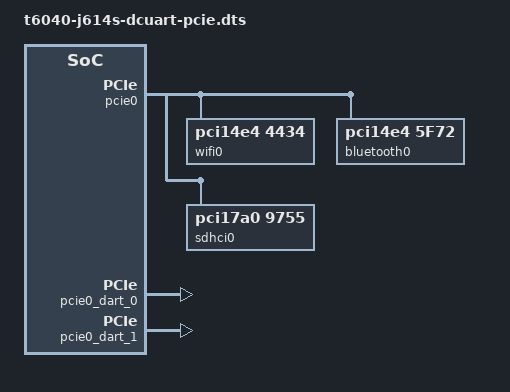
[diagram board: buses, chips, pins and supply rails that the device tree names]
// SPDX-License-Identifier: GPL-2.0+ OR MIT
/*
 * Apple MacBook Pro 14-inch M4 Pro (Mac16,8 / J614s) PCIe bring-up.
 *
 * This deliberately remains a separate boot variant: m1n1's T6040 PCIe
 * initialization performs the invasive PHY/clock/reset sequence before the
 * Linux handoff and must not be exercised without the reviewed live-attempt
 * approval.  All addresses, interrupts, pins, and populated ports below come
 * from the saved J614s ADT.
 */

#include <dt-bindings/gpio/gpio.h>
#include <dt-bindings/pinctrl/apple.h>

#include "t6040-j614s-dcuart.dts"

/ {
	aliases {
		wifi0 = &wifi0;
		bluetooth0 = &bluetooth0;
		mmc0 = &sdhci0;
	};
};

&soc {
	/*
	 * ADT /arm-io/gpio0: gpio,t8101, 200 pins, seven AIC groups.
	 * The current Linux driver uses the established t8103 fallback.
	 */
	pinctrl_ap: pinctrl@51c000000 {
		compatible = "apple,t6040-pinctrl", "apple,t8122-pinctrl",
			     "apple,t8103-pinctrl";
		reg = <0x5 0x1c000000 0x0 0x4000>;

		gpio-controller;
		#gpio-cells = <2>;
		gpio-ranges = <&pinctrl_ap 0 0 200>;
		apple,npins = <200>;

		interrupt-controller;
		#interrupt-cells = <2>;
		interrupt-parent = <&aic>;
		interrupts = <AIC_IRQ 478 IRQ_TYPE_LEVEL_HIGH>,
			     <AIC_IRQ 479 IRQ_TYPE_LEVEL_HIGH>,
			     <AIC_IRQ 480 IRQ_TYPE_LEVEL_HIGH>,
			     <AIC_IRQ 481 IRQ_TYPE_LEVEL_HIGH>,
			     <AIC_IRQ 482 IRQ_TYPE_LEVEL_HIGH>,
			     <AIC_IRQ 483 IRQ_TYPE_LEVEL_HIGH>,
			     <AIC_IRQ 484 IRQ_TYPE_LEVEL_HIGH>;

		/* ADT function-clkreq: GPIO0/1, function 2. */
		pcie_pins: pcie-pins {
			pinmux = <APPLE_PINMUX(0, 2)>,
				 <APPLE_PINMUX(1, 2)>;
		};
	};

	/*
	 * T6040 uses the T602x Linux-visible port layout: PERST at 0x82c,
	 * RID2SID at 0x3000, and MSIMAP at 0x3800.  Keep the T6020 fallback
	 * until a dedicated upstream compatible is accepted.
	 *
	 * m1n1 owns the shared PHY/clock initialization and leaves the complete
	 * ADT power-gate set active.  The initial Linux description intentionally
	 * has no incomplete single power-domain approximation: the binding only
	 * accepts one, while T6040 requires both the APCIE_SYS_GP and
	 * APCIE_PHY_SW hierarchies.
	 */
	pcie0: pcie@1cb0000000 {
		compatible = "apple,t6040-pcie", "apple,t6020-pcie";
		device_type = "pci";

		reg = <0x1c 0xb0000000 0x0 0x10000000>, /* config */
		      <0x4 0x14000000 0x0 0x4000>,     /* rc */
		      <0x4 0x10028000 0x0 0x8000>,     /* port0 */
		      <0x4 0x11028000 0x0 0x8000>,     /* port1 */
		      <0x4 0x12028000 0x0 0x8000>,     /* port2 */
		      <0x4 0x13028000 0x0 0x8000>,     /* port3 */
		      <0x4 0x17020000 0x0 0x4000>,     /* phy0 */
		      <0x4 0x17024000 0x0 0x4000>,     /* phy1 */
		      <0x4 0x17028000 0x0 0x4000>,     /* phy2 */
		      <0x4 0x1702c000 0x0 0x4000>;     /* phy3 */
		reg-names = "config", "rc",
			    "port0", "port1", "port2", "port3",
			    "phy0", "phy1", "phy2", "phy3";

		interrupt-parent = <&aic>;
		interrupts = <AIC_IRQ 1723 IRQ_TYPE_LEVEL_HIGH>,
			     <AIC_IRQ 1732 IRQ_TYPE_LEVEL_HIGH>,
			     <AIC_IRQ 1741 IRQ_TYPE_LEVEL_HIGH>,
			     <AIC_IRQ 1750 IRQ_TYPE_LEVEL_HIGH>;

		msi-controller;
		msi-parent = <&pcie0>;
		msi-ranges = <&aic AIC_IRQ 2071 IRQ_TYPE_EDGE_RISING 32>;

		/* One T8110 DART per populated root port. */
		iommu-map = <0x100 &pcie0_dart_0 1 1>,
			    <0x200 &pcie0_dart_1 1 1>;
		iommu-map-mask = <0xff00>;

		bus-range = <0 8>;
		#address-cells = <3>;
		#size-cells = <2>;
		ranges = <0x43000000 0xb 0xc0000000
			  0xb 0xc0000000 0x0 0x20000000>,
			 <0x02000000 0x0 0x80000000
			  0xb 0x80000000 0x0 0x40000000>;

		pinctrl-0 = <&pcie_pins>;
		pinctrl-names = "default";

		port00: pci@0,0 {
			device_type = "pci";
			reg = <0x0 0x0 0x0 0x0 0x0>;
			reset-gpios = <&pinctrl_ap 4 GPIO_ACTIVE_LOW>;
			max-link-speed = <2>;
			bus-range = <1 1>;

			#address-cells = <3>;
			#size-cells = <2>;
			ranges;

			interrupt-controller;
			#interrupt-cells = <1>;
			interrupt-map-mask = <0 0 0 7>;
			interrupt-map = <0 0 0 1 &port00 0 0 0 0>,
					<0 0 0 2 &port00 0 0 0 1>,
					<0 0 0 3 &port00 0 0 0 2>,
					<0 0 0 4 &port00 0 0 0 3>;

			wifi0: wifi@0,0 {
				compatible = "pci14e4,4434";
				reg = <0x10000 0x0 0x0 0x0 0x0>;
				local-mac-address = [00 00 00 00 00 00];
				apple,antenna-sku = "XX";
				/* ADT /arm-io/wlan module-instance. */
				brcm,board-type = "apple,mriya";
			};

			bluetooth0: bluetooth@0,1 {
				compatible = "pci14e4,5f72";
				reg = <0x10100 0x0 0x0 0x0 0x0>;
				local-bd-address = [00 00 00 00 00 00];
				brcm,board-type = "apple,mriya";
			};
		};

		port01: pci@1,0 {
			device_type = "pci";
			reg = <0x800 0x0 0x0 0x0 0x0>;
			reset-gpios = <&pinctrl_ap 5 GPIO_ACTIVE_LOW>;
			max-link-speed = <1>;
			bus-range = <2 2>;

			#address-cells = <3>;
			#size-cells = <2>;
			ranges;

			interrupt-controller;
			#interrupt-cells = <1>;
			interrupt-map-mask = <0 0 0 7>;
			interrupt-map = <0 0 0 1 &port01 0 0 0 0>,
					<0 0 0 2 &port01 0 0 0 1>,
					<0 0 0 3 &port01 0 0 0 2>,
					<0 0 0 4 &port01 0 0 0 3>;

			sdhci0: mmc@0,0 {
				compatible = "pci17a0,9755";
				reg = <0x20000 0x0 0x0 0x0 0x0>;
				cd-inverted;
				wp-inverted;
			};
		};

		port02: pci@2,0 {
			device_type = "pci";
			reg = <0x1000 0x0 0x0 0x0 0x0>;
			reset-gpios = <&pinctrl_ap 6 GPIO_ACTIVE_LOW>;
			#address-cells = <3>;
			#size-cells = <2>;
			ranges;
			status = "disabled";
		};

		port03: pci@3,0 {
			device_type = "pci";
			reg = <0x1800 0x0 0x0 0x0 0x0>;
			reset-gpios = <&pinctrl_ap 7 GPIO_ACTIVE_LOW>;
			#address-cells = <3>;
			#size-cells = <2>;
			ranges;
			status = "disabled";
		};
	};

	pcie0_dart_0: iommu@410000000 {
		compatible = "apple,t8110-dart";
		reg = <0x4 0x10000000 0x0 0x20000>;
		interrupt-parent = <&aic>;
		interrupts = <AIC_IRQ 1724 IRQ_TYPE_LEVEL_HIGH>;
		#iommu-cells = <1>;
	};

	pcie0_dart_1: iommu@411000000 {
		compatible = "apple,t8110-dart";
		reg = <0x4 0x11000000 0x0 0x20000>;
		interrupt-parent = <&aic>;
		interrupts = <AIC_IRQ 1733 IRQ_TYPE_LEVEL_HIGH>;
		#iommu-cells = <1>;
	};
};
